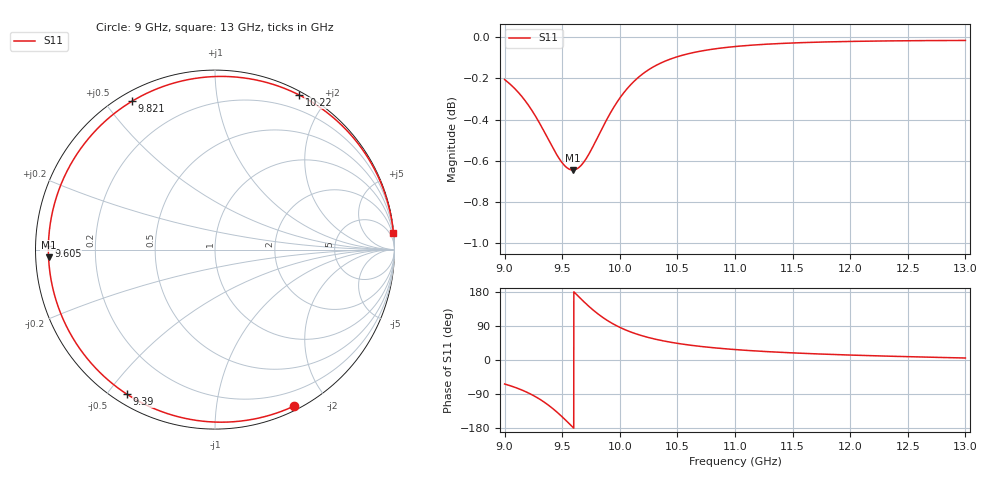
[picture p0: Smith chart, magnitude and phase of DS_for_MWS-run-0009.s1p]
! TOUCHSTONE file generated by CST DESIGN STUDIO
! Date and time: Tue Feb  4 15:46:14 2025
! Project name: C:\Work\MatlabApps\UnitCellOptimizationMatlab\CST\unitcell.cst
! Tree item: Tasks\Sweep1\SPara1\S-Parameters
! Header version: 2024
! Port assignment regex: !\s*Touchstone port\s*([0-9]+)\s*=\s*(CST MWS port|CST DES external port|CST DES block port)\s*(.+)\s* \(\"(.*)\"\)(\s*mode\s*([0-9]+))?.*
! Touchstone port assignment:
! Touchstone port 1 = CST DES external port 1 ("")
# GHz S MA R 50
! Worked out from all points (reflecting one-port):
!   4001 points, 9 GHz to 13 GHz, reference 50 ohm
!   lowest |S11| = -0.6 dB at 9.592 GHz (marker M1), VSWR 26.94, Z = 1.86 - j1.14 ohm
!   phase of S11 starts at -63 deg and turns -291 deg over the sweep
!   S11 on the Smith chart (normalised r, x): 9 GHz: 0.04, -1.62; 9.39 GHz: 0.04, -0.56; 9.605 GHz: 0.04, +0.01; 9.821 GHz: 0.04, +0.59; 10.22 GHz: 0.04, +1.68; 13 GHz: 0, +22
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9  0.9766 -63.3
9.049  0.9741 -67.9
9.119  0.9697 -75.5
9.238  0.9598 -91.8
9.319  0.9514 -106.2
9.39  0.9433 -121.4
9.445  0.9372 -135.0
9.5  0.9322 -150.0
9.547  0.9294 -163.8
9.592  0.9284 -177.4
9.605  0.9285 178.7
9.661  0.9306 161.7
9.722  0.9357 144.2
9.771  0.9412 131.2
9.821  0.9472 119.2
9.861  0.952 110.5
9.903  0.9569 102.2
10  0.9666 86.2
10.107  0.9746 72.6
10.223  0.9809 61.4
10.351  0.9856 52.1
10.5  0.9892 43.9
10.72  0.9925 35.2
11  0.9949 27.5
11.5  0.9968 18.8
12  0.9977 13.0
12.5  0.9981 8.8
13  0.9982 5.3
